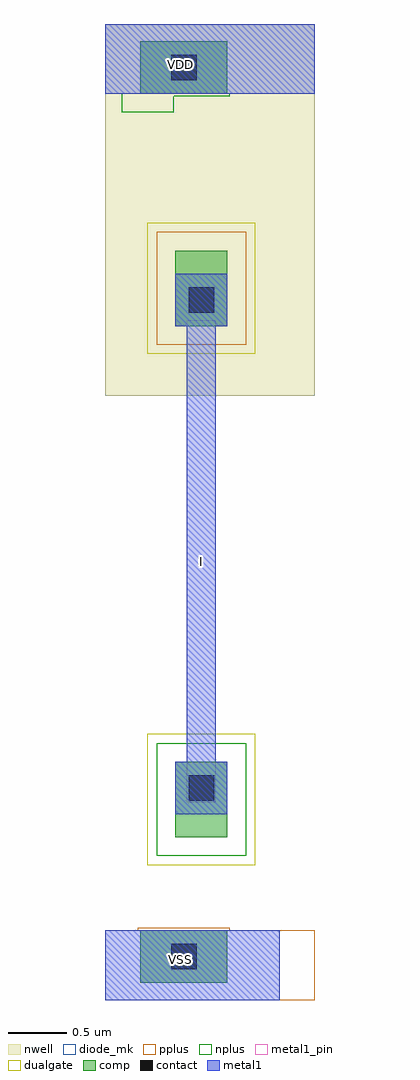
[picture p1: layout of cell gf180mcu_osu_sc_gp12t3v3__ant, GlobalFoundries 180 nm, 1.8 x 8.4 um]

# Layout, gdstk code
import gdstk
lib = gdstk.Library(unit=1e-6, precision=1e-09)
def R(c, l, rs):  # rectangles x0, y0, x1, y1
    for r in rs: c.add(gdstk.rectangle(r[:2], r[2:], *l))
nwell = (21, 0)
comp = (22, 0)
pplus = (31, 0)
nplus = (32, 0)
contact = (33, 0)
metal1 = (34, 0)
metal1_pin = (34, 10)
dualgate = (55, 0)
diode_mk = (115, 5)

gf180mcu_osu_sc_gp12t3v3 = lib.new_cell('gf180mcu_osu_sc_gp12t3v3__ant')
R(gf180mcu_osu_sc_gp12t3v3, nwell, [(0,5.2,1.8,8.4)])
R(gf180mcu_osu_sc_gp12t3v3, comp, [(0.3,0.15,1.05,0.6), (0.6,1.4,1.05,2.05), (0.6,5.8,1.05,6.45), (0.3,7.8,1.05,8.25)])
R(gf180mcu_osu_sc_gp12t3v3, pplus, [(0,0,1.8,0.6), (0.28,0.6,1.07,0.62), (0.44,5.64,1.21,6.61)])
R(gf180mcu_osu_sc_gp12t3v3, nplus, [(0.44,1.24,1.21,2.21), (0.14,7.64,0.59,7.78), (0.14,7.78,1.07,7.8), (0,7.8,1.8,8.4)])
R(gf180mcu_osu_sc_gp12t3v3, contact, [(0.565,0.265,0.785,0.485), (0.715,1.715,0.935,1.935), (0.715,5.915,0.935,6.135), (0.565,7.915,0.785,8.135)])
R(gf180mcu_osu_sc_gp12t3v3, metal1, [(0,0,1.5,0.6), (0.6,1.6,1.05,2.05), (0.7,2.05,0.95,5.8), (0.6,5.8,1.05,6.25), (0,7.8,1.8,8.4)])
R(gf180mcu_osu_sc_gp12t3v3, metal1_pin, [(0.7,1.7,0.95,5.85)])
R(gf180mcu_osu_sc_gp12t3v3, dualgate, [(0.36,1.16,1.29,2.29), (0.36,5.56,1.29,6.69)])
R(gf180mcu_osu_sc_gp12t3v3, diode_mk, [(0.6,1.4,1.05,2.05), (0.6,5.8,1.05,6.45)])
gf180mcu_osu_sc_gp12t3v3.add(gdstk.Label('VDD', (0.65,8.05), layer=34, texttype=10))
gf180mcu_osu_sc_gp12t3v3.add(gdstk.Label('VSS', (0.65,0.35), layer=34, texttype=10))
gf180mcu_osu_sc_gp12t3v3.add(gdstk.Label('I', (0.825,3.775), layer=34, texttype=10))

lib.write_gds('gf180mcu_osu_sc_gp12t3v3__ant.gds')
